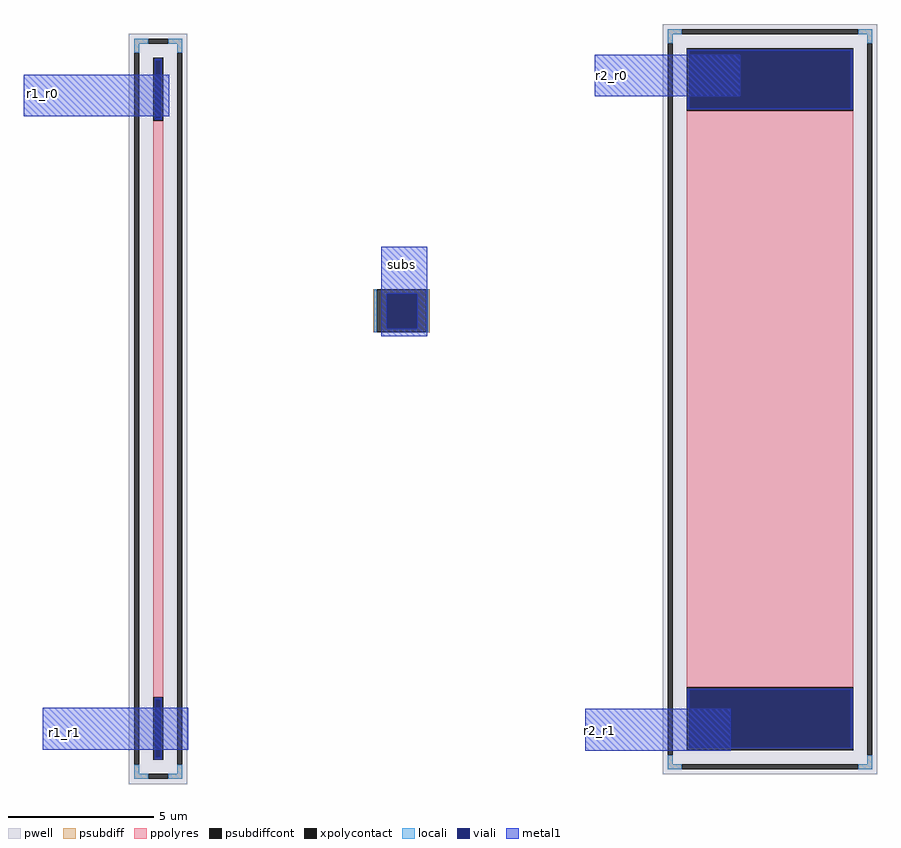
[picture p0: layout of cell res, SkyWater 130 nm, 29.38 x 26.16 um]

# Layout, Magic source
magic
tech sky130A
magscale 1 2
<< psubdiff >>
rect 1628 3658 1652 3952
rect 1992 3658 2016 3952
<< psubdiffcont >>
rect 1652 3658 1992 3952
<< locali >>
rect 1636 3658 1652 3952
rect 1992 3658 2008 3952
<< viali >>
rect 1722 3680 1932 3922
<< metal1 >>
rect -778 5142 224 5430
rect 3154 5280 4156 5568
rect 1684 3922 2000 4244
rect 1684 3680 1722 3922
rect 1932 3680 2000 3922
rect 1684 3630 2000 3680
rect -648 784 354 1072
rect 3086 776 4088 1064
use sky130_fd_pr__res_high_po_0p35_QPS5FG  XR1
transform 1 0 148 0 1 3129
box -201 -2582 201 2582
use sky130_fd_pr__res_high_po_5p73_WUGB7G  XR2
transform 1 0 4359 0 1 3196
box -739 -2582 739 2582
<< labels >>
flabel metal1 -748 5198 -548 5398 0 FreeSans 256 0 0 0 r1_r0
port 0 nsew
flabel metal1 3166 5322 3366 5522 0 FreeSans 256 0 0 0 r2_r0
port 1 nsew
flabel metal1 3086 818 3286 1018 0 FreeSans 256 0 0 0 r2_r1
port 3 nsew
flabel metal1 -594 802 -394 1002 0 FreeSans 256 0 0 0 r1_r1
port 2 nsew
flabel metal1 1720 4024 1920 4224 0 FreeSans 256 0 0 0 subs
port 4 nsew
<< end >>

# cell sky130_fd_pr__res_high_po_0p35_QPS5FG: kit device sky130_fd_pr__res_high_po_0p35, w 0.350 l 20.0 m 1 nx 1 wmin 0.350 lmin 0.50 rho 319.8 val 19.387k dummy 0 dw 0.0 term 194.82 sterm 0.0 caplen 0 guard 1 glc 1 grc 1 gtc 1 gbc 1 compatible {sky130_fd_pr__res_high_po_0p35 sky130_fd_pr__res_high_po_0p69 sky130_fd_pr__res_high_po_1p41 sky130_fd_pr__res_high_po_2p85 sky130_fd_pr__res_high_po_5p73} snake 0 full_metal 1 wmax 0.350 vias 1 n_guard 0 hv_guard 0 viagb 0 viagt 0 viagl 0 viagr 0

# cell sky130_fd_pr__res_high_po_5p73_WUGB7G: kit device sky130_fd_pr__res_high_po_5p73, w 5.730 l 20.0 m 1 nx 1 wmin 5.730 lmin 0.50 rho 319.8 val 1.184k dummy 0 dw 0.0 term 194.82 sterm 0.0 caplen 0 guard 1 glc 1 grc 1 gtc 1 gbc 1 compatible {sky130_fd_pr__res_high_po_0p35 sky130_fd_pr__res_high_po_0p69 sky130_fd_pr__res_high_po_1p41 sky130_fd_pr__res_high_po_2p85 sky130_fd_pr__res_high_po_5p73} snake 0 full_metal 1 wmax 5.730 n_guard 0 hv_guard 0 vias 1 viagb 0 viagt 0 viagl 0 viagr 0
